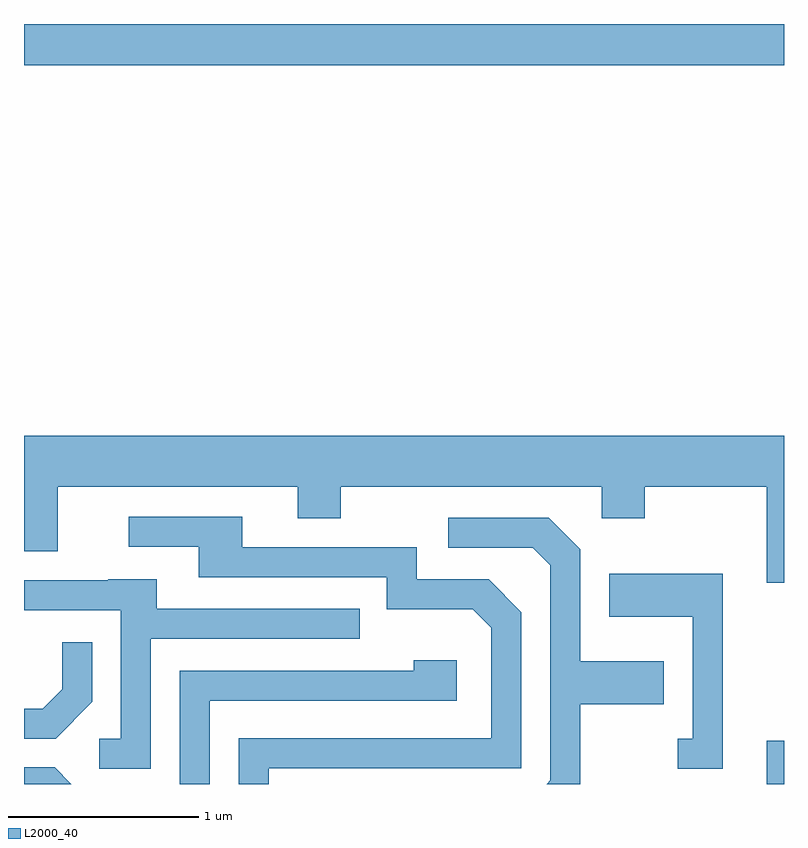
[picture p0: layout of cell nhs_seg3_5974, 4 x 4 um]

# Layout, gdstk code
import gdstk
lib = gdstk.Library(unit=1e-6, precision=1e-09)
def R(c, l, rs):  # rectangles x0, y0, x1, y1
    for r in rs: c.add(gdstk.rectangle(r[:2], r[2:], *l))
def P(c, l, *ps):  # polygons
    for p in ps: c.add(gdstk.Polygon(p, *l))
L2000_40 = (2000, 40)

nhs_seg3_5974 = lib.new_cell('nhs_seg3_5974')
R(nhs_seg3_5974, L2000_40, [(363.521,1239.892,363.611,1240.119), (359.611,1243.676,363.611,1243.892)])
P(nhs_seg3_5974, L2000_40, [(363.611,1241.724),(359.611,1241.724),(359.611,1241.116),(359.789,1241.116),(359.789,1241.456),(361.051,1241.456),(361.051,1241.291),(361.279,1241.291),(361.279,1241.456),(362.651,1241.456),(362.651,1241.291),(362.879,1241.291),(362.879,1241.456),(363.521,1241.456),(363.521,1240.951),(363.611,1240.951)],
  [(360.899,1239.976),(362.229,1239.976),(362.229,1240.797),(362.057,1240.969),(361.679,1240.969),(361.679,1241.139),(360.759,1241.139),(360.759,1241.299),(360.163,1241.299),(360.163,1241.141),(360.531,1241.141),(360.531,1240.981),(361.521,1240.981),(361.521,1240.811),(361.974,1240.811),(362.071,1240.714),(362.071,1240.134),(360.741,1240.134),(360.741,1239.892),(360.899,1239.892)],
  [(362.539,1240.311),(362.979,1240.311),(362.979,1240.539),(362.539,1240.539),(362.539,1241.127),(362.372,1241.294),(361.843,1241.294),(361.843,1241.136),(362.289,1241.136),(362.381,1241.044),(362.381,1239.912),(362.361,1239.892),(362.539,1239.892)],
  [(363.289,1240.999),(362.691,1240.999),(362.691,1240.771),(363.131,1240.771),(363.131,1240.129),(363.053,1240.129),(363.053,1239.971),(363.289,1239.971)],
  [(360.279,1240.656),(361.378,1240.656),(361.378,1240.814),(360.309,1240.814),(360.309,1240.969),(360.055,1240.969),(360.055,1240.964),(359.611,1240.964),(359.611,1240.806),(360.121,1240.806),(360.121,1240.129),(360.008,1240.129),(360.008,1239.971),(360.279,1239.971)],
  [(359.969,1240.324),(359.969,1240.638),(359.811,1240.638),(359.811,1240.392),(359.709,1240.289),(359.611,1240.289),(359.611,1240.131),(359.777,1240.131)],
  [(360.589,1240.331),(361.889,1240.331),(361.889,1240.544),(361.661,1240.544),(361.661,1240.489),(360.431,1240.489),(360.431,1239.892),(360.589,1239.892)],
  [(359.772,1239.979),(359.611,1239.979),(359.611,1239.892),(359.859,1239.892)])

lib.write_gds('nhs_seg3_5974.gds')
